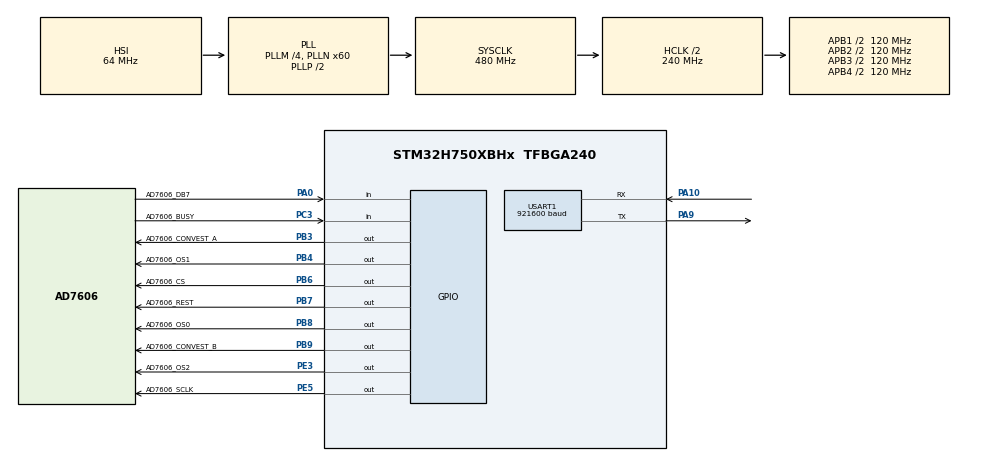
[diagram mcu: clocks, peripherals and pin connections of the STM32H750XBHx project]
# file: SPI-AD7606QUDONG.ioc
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CORTEX_M7.default_mode_Activation=1
Mcu.Family=STM32H7
Mcu.Name=STM32H750XBHx
Mcu.Package=TFBGA240
NVIC.PriorityGroup=NVIC_PRIORITYGROUP_4
NVIC.TIM16_IRQn=true\:0\:0\:false\:false\:true\:true\:true\:true
NVIC.TIM3_IRQn=true\:0\:0\:false\:false\:true\:true\:true\:true
PA0.GPIO_Label=AD7606_DB7
PA0.Signal=GPIO_Input
PA10.Mode=Asynchronous
PA10.Signal=USART1_RX
PA9.Mode=Asynchronous
PA9.Signal=USART1_TX
PB3\ (JTDO/TRACESWO).GPIO_Label=AD7606_CONVEST_A
PB3\ (JTDO/TRACESWO).GPIO_Speed=GPIO_SPEED_FREQ_VERY_HIGH
PB3\ (JTDO/TRACESWO).Signal=GPIO_Output
PB4\ (NJTRST).GPIO_Label=AD7606_OS1
PB4\ (NJTRST).GPIO_Speed=GPIO_SPEED_FREQ_VERY_HIGH
PB4\ (NJTRST).Signal=GPIO_Output
PB6.GPIO_Label=AD7606_CS
PB6.GPIO_Speed=GPIO_SPEED_FREQ_VERY_HIGH
PB6.Signal=GPIO_Output
PB7.GPIO_Label=AD7606_REST
PB7.GPIO_Speed=GPIO_SPEED_FREQ_VERY_HIGH
PB7.Signal=GPIO_Output
PB8.GPIO_Label=AD7606_OS0
PB8.GPIO_Speed=GPIO_SPEED_FREQ_VERY_HIGH
PB8.Signal=GPIO_Output
PB9.GPIO_Label=AD7606_CONVEST_B
PB9.GPIO_Speed=GPIO_SPEED_FREQ_VERY_HIGH
PB9.Signal=GPIO_Output
PC3.GPIO_Label=AD7606_BUSY
PC3.Signal=GPIO_Input
PE3.GPIO_Label=AD7606_OS2
PE3.GPIO_Speed=GPIO_SPEED_FREQ_VERY_HIGH
PE3.Signal=GPIO_Output
PE5.GPIO_Label=AD7606_SCLK
PE5.GPIO_Speed=GPIO_SPEED_FREQ_VERY_HIGH
PE5.Signal=GPIO_Output
PH0-OSC_IN\ (PH0).Mode=HSE-External-Oscillator
PH0-OSC_IN\ (PH0).Signal=RCC_OSC_IN
PH1-OSC_OUT\ (PH1).Mode=HSE-External-Oscillator
PH1-OSC_OUT\ (PH1).Signal=RCC_OSC_OUT
ProjectManager.HeapSize=0x200
ProjectManager.StackSize=0x400
ProjectManager.TargetToolchain=MDK-ARM V5.32
RCC.ADCFreq_Value=129000000
RCC.APB1Freq_Value=120000000
RCC.APB2Freq_Value=120000000
RCC.APB3Freq_Value=120000000
RCC.APB4Freq_Value=120000000
RCC.CortexFreq_Value=480000000
RCC.D1PPRE=RCC_APB3_DIV2
RCC.D2PPRE1=RCC_APB1_DIV2
RCC.D2PPRE2=RCC_APB2_DIV2
RCC.D3PPRE=RCC_APB4_DIV2
RCC.DIVM1=4
RCC.DIVN1=60
RCC.DIVQ1=5
RCC.HCLKFreq_Value=240000000
RCC.HPRE=RCC_HCLK_DIV2
RCC.PLL2FRACN=0
RCC.PLL3FRACN=0
RCC.PLLFRACN=0
RCC.SYSCLKFreq_VALUE=480000000
RCC.SYSCLKSource=RCC_SYSCLKSOURCE_PLLCLK
RCC.USBFreq_Value=192000000
TIM16.Period=10-1
TIM16.Prescaler=24-1
TIM3.Period=80-1
TIM3.Prescaler=240-1
USART1.BaudRate=921600
USART1.VirtualMode-Asynchronous=VM_ASYNC
VP_MEMORYMAP_VS_MEMORYMAP.Mode=CurAppReg
VP_TIM16_VS_ClockSourceINT.Mode=Enable_Timer
VP_TIM3_VS_ClockSourceINT.Mode=Internal
board=custom

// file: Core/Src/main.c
/* USER CODE BEGIN Header */
/**
  ******************************************************************************
  * @file           : main.c
  * @brief          : Main program body
  ******************************************************************************
  * @attention
  *
  * Copyright (c) 2025 STMicroelectronics.
  * All rights reserved.
  *
  * This software is licensed under terms that can be found in the LICENSE file
  * in the root directory of this software component.
  * If no LICENSE file comes with this software, it is provided AS-IS.
  *
  ******************************************************************************
  */
/* USER CODE END Header */
#include "main.h"
#include "memorymap.h"
#include "tim.h"
#include "usart.h"
#include "gpio.h"

/* USER CODE BEGIN Includes */
#include "SPI_AD7606.h"
#include <stdio.h>
/* USER CODE END Includes */

/* USER CODE BEGIN PTD */
uint16_t value[100000];
int flag,i;

	uint16_t AD7606_Buf[8]={0};
	double ad=0;
	int l;
/* USER CODE END PTD */

/* USER CODE BEGIN PD */
void HAL_TIM_PeriodElapsedCallback(TIM_HandleTypeDef *htim)
{
	if (htim == (&htim3))
	{
		  AD7606_read_data(AD7606_Buf);
			value[i++] = AD7606_Buf[0];
			//
			if (i == 10000)
			{
					HAL_TIM_Base_Stop_IT(&htim3);
					flag=1;
						i=0;
			}

	}
}
/* USER CODE END PD */

void SystemClock_Config(void);
static void MPU_Config(void);

int main(void)
{

  /* MPU Configuration--------------------------------------------------------*/
  MPU_Config();

  /* MCU Configuration--------------------------------------------------------*/

  /* Reset of all peripherals, Initializes the Flash interface and the Systick. */
  HAL_Init();

  /* Configure the system clock */
  SystemClock_Config();

  /* Initialize all configured peripherals */
  MX_GPIO_Init();
  MX_USART1_UART_Init();
  MX_TIM16_Init();
  MX_TIM3_Init();
  /* USER CODE BEGIN 2 */
  AD7606_Init();
  HAL_TIM_Base_Start_IT(&htim3);
  /* USER CODE END 2 */

  /* Infinite loop */
  /* USER CODE BEGIN WHILE */
  while (1)
  {

		if(flag==1)
		{
			flag=0;
		  for (i = 0; i < 10000; i++)
            {
              /* 输出单位：V */
              printf("%f\r\n", AD7606_RawToVolts(value[i]));
							value[i]=0;
            }
						i=0;
		  HAL_TIM_Base_Start_IT(&htim3);
		}

    /* USER CODE END WHILE */

  }
}

void SystemClock_Config(void)
{
  RCC_OscInitTypeDef RCC_OscInitStruct = {0};
  RCC_ClkInitTypeDef RCC_ClkInitStruct = {0};

  /** Supply configuration update enable
  */
  HAL_PWREx_ConfigSupply(PWR_LDO_SUPPLY);

  /** Configure the main internal regulator output voltage
  */
  __HAL_PWR_VOLTAGESCALING_CONFIG(PWR_REGULATOR_VOLTAGE_SCALE0);

  while(!__HAL_PWR_GET_FLAG(PWR_FLAG_VOSRDY)) {}

  /** Initializes the RCC Oscillators according to the specified parameters
  * in the RCC_OscInitTypeDef structure.
  */
  RCC_OscInitStruct.OscillatorType = RCC_OSCILLATORTYPE_HSI;
  RCC_OscInitStruct.HSIState = RCC_HSI_DIV1;
  RCC_OscInitStruct.HSICalibrationValue = RCC_HSICALIBRATION_DEFAULT;
  RCC_OscInitStruct.PLL.PLLState = RCC_PLL_ON;
  RCC_OscInitStruct.PLL.PLLSource = RCC_PLLSOURCE_HSI;
  RCC_OscInitStruct.PLL.PLLM = 4;
  RCC_OscInitStruct.PLL.PLLN = 60;
  RCC_OscInitStruct.PLL.PLLP = 2;
  RCC_OscInitStruct.PLL.PLLQ = 5;
  RCC_OscInitStruct.PLL.PLLR = 2;
  RCC_OscInitStruct.PLL.PLLRGE = RCC_PLL1VCIRANGE_3;
  RCC_OscInitStruct.PLL.PLLVCOSEL = RCC_PLL1VCOWIDE;
  RCC_OscInitStruct.PLL.PLLFRACN = 0;
  if (HAL_RCC_OscConfig(&RCC_OscInitStruct) != HAL_OK)
  {
    Error_Handler();
  }

  /** Initializes the CPU, AHB and APB buses clocks
  */
  RCC_ClkInitStruct.ClockType = RCC_CLOCKTYPE_HCLK|RCC_CLOCKTYPE_SYSCLK
                              |RCC_CLOCKTYPE_PCLK1|RCC_CLOCKTYPE_PCLK2
                              |RCC_CLOCKTYPE_D3PCLK1|RCC_CLOCKTYPE_D1PCLK1;
  RCC_ClkInitStruct.SYSCLKSource = RCC_SYSCLKSOURCE_PLLCLK;
  RCC_ClkInitStruct.SYSCLKDivider = RCC_SYSCLK_DIV1;
  RCC_ClkInitStruct.AHBCLKDivider = RCC_HCLK_DIV2;
  RCC_ClkInitStruct.APB3CLKDivider = RCC_APB3_DIV2;
  RCC_ClkInitStruct.APB1CLKDivider = RCC_APB1_DIV2;
  RCC_ClkInitStruct.APB2CLKDivider = RCC_APB2_DIV2;
  RCC_ClkInitStruct.APB4CLKDivider = RCC_APB4_DIV2;

  if (HAL_RCC_ClockConfig(&RCC_ClkInitStruct, FLASH_LATENCY_4) != HAL_OK)
  {
    Error_Handler();
  }
}

 /* MPU Configuration */

void MPU_Config(void)
{
  MPU_Region_InitTypeDef MPU_InitStruct = {0};

  /* Disables the MPU */
  HAL_MPU_Disable();

  /** Initializes and configures the Region and the memory to be protected
  */
  MPU_InitStruct.Enable = MPU_REGION_ENABLE;
  MPU_InitStruct.Number = MPU_REGION_NUMBER0;
  MPU_InitStruct.BaseAddress = 0x0;
  MPU_InitStruct.Size = MPU_REGION_SIZE_4GB;
  MPU_InitStruct.SubRegionDisable = 0x87;
  MPU_InitStruct.TypeExtField = MPU_TEX_LEVEL0;
  MPU_InitStruct.AccessPermission = MPU_REGION_NO_ACCESS;
  MPU_InitStruct.DisableExec = MPU_INSTRUCTION_ACCESS_DISABLE;
  MPU_InitStruct.IsShareable = MPU_ACCESS_SHAREABLE;
  MPU_InitStruct.IsCacheable = MPU_ACCESS_NOT_CACHEABLE;
  MPU_InitStruct.IsBufferable = MPU_ACCESS_NOT_BUFFERABLE;

  HAL_MPU_ConfigRegion(&MPU_InitStruct);
  /* Enables the MPU */
  HAL_MPU_Enable(MPU_PRIVILEGED_DEFAULT);

}

void Error_Handler(void)
{
  __disable_irq();
  while (1)
  {
  }
}
